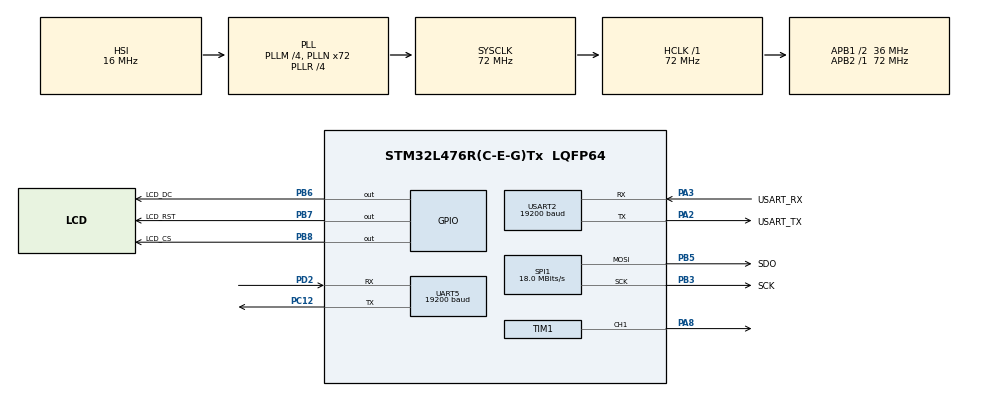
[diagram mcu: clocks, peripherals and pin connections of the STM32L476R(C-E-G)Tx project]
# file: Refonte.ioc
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Dma.Request0=TIM1_CH1
Dma.Request1=SPI1_TX
Dma.SPI1_TX.1.Direction=DMA_MEMORY_TO_PERIPH
Dma.SPI1_TX.1.Instance=DMA1_Channel3
Dma.SPI1_TX.1.MemDataAlignment=DMA_MDATAALIGN_BYTE
Dma.SPI1_TX.1.MemInc=DMA_MINC_ENABLE
Dma.SPI1_TX.1.Mode=DMA_NORMAL
Dma.SPI1_TX.1.PeriphDataAlignment=DMA_PDATAALIGN_BYTE
Dma.SPI1_TX.1.PeriphInc=DMA_PINC_DISABLE
Dma.SPI1_TX.1.Priority=DMA_PRIORITY_LOW
Dma.TIM1_CH1.0.Direction=DMA_MEMORY_TO_PERIPH
Dma.TIM1_CH1.0.Instance=DMA1_Channel2
Dma.TIM1_CH1.0.MemDataAlignment=DMA_MDATAALIGN_HALFWORD
Dma.TIM1_CH1.0.MemInc=DMA_MINC_ENABLE
Dma.TIM1_CH1.0.Mode=DMA_NORMAL
Dma.TIM1_CH1.0.PeriphDataAlignment=DMA_PDATAALIGN_HALFWORD
Dma.TIM1_CH1.0.PeriphInc=DMA_PINC_DISABLE
Dma.TIM1_CH1.0.Priority=DMA_PRIORITY_LOW
Mcu.Family=STM32L4
Mcu.Name=STM32L476R(C-E-G)Tx
Mcu.Package=LQFP64
NVIC.DMA1_Channel2_IRQn=true\:0\:0\:false\:false\:true\:false\:true\:true
NVIC.DMA1_Channel3_IRQn=true\:0\:0\:false\:false\:true\:false\:true\:true
NVIC.PriorityGroup=NVIC_PRIORITYGROUP_4
NVIC.TIM2_IRQn=true\:0\:0\:false\:false\:true\:true\:true\:true
NVIC.UART5_IRQn=true\:0\:0\:false\:false\:true\:true\:true\:true
NVIC.USART2_IRQn=true\:0\:0\:false\:false\:true\:true\:true\:true
PA2.GPIO_Label=USART_TX
PA2.GPIO_Mode=GPIO_MODE_AF_PP
PA2.GPIO_PuPd=GPIO_NOPULL
PA2.GPIO_Speed=GPIO_SPEED_FREQ_VERY_HIGH
PA2.Mode=Asynchronous
PA2.Signal=USART2_TX
PA3.GPIO_Label=USART_RX
PA3.GPIO_Mode=GPIO_MODE_AF_PP
PA3.GPIO_PuPd=GPIO_NOPULL
PA3.GPIO_Speed=GPIO_SPEED_FREQ_VERY_HIGH
PA3.Mode=Asynchronous
PA3.Signal=USART2_RX
PA8.Signal=S_TIM1_CH1
PB3\ (JTDO-TRACESWO).GPIO_Label=SCK
PB3\ (JTDO-TRACESWO).Mode=TX_Only_Simplex_Unidirect_Master
PB3\ (JTDO-TRACESWO).Signal=SPI1_SCK
PB5.GPIO_Label=SDO
PB5.Mode=TX_Only_Simplex_Unidirect_Master
PB5.Signal=SPI1_MOSI
PB6.GPIO_Label=LCD_DC
PB6.Signal=GPIO_Output
PB7.GPIO_Label=LCD_RST
PB7.Signal=GPIO_Output
PB8.GPIO_Label=LCD_CS
PB8.Signal=GPIO_Output
PC12.Mode=Asynchronous
PC12.Signal=UART5_TX
PD2.Mode=Asynchronous
PD2.Signal=UART5_RX
ProjectManager.HeapSize=0x200
ProjectManager.StackSize=0x400
ProjectManager.TargetToolchain=STM32CubeIDE
RCC.ADCFreq_Value=16000000
RCC.AHBFreq_Value=72000000
RCC.APB1CLKDivider=RCC_HCLK_DIV2
RCC.APB1Freq_Value=36000000
RCC.APB1TimFreq_Value=72000000
RCC.APB2Freq_Value=72000000
RCC.APB2TimFreq_Value=72000000
RCC.CortexFreq_Value=72000000
RCC.HCLKFreq_Value=72000000
RCC.HSE_VALUE=8000000
RCC.HSI_VALUE=16000000
RCC.LSE_VALUE=32768
RCC.MSI_VALUE=4000000
RCC.PLLM=4
RCC.PLLN=72
RCC.PLLR=RCC_PLLR_DIV4
RCC.PLLSourceVirtual=RCC_PLLSOURCE_HSI
RCC.PREFETCH_ENABLE=1
RCC.SYSCLKFreq_VALUE=72000000
RCC.SYSCLKSource=RCC_SYSCLKSOURCE_PLLCLK
RCC.USBFreq_Value=16000000
RCC.VCOOutputFreq_Value=288000000
SH.S_TIM1_CH1.0=TIM1_CH1,PWM Generation1 CH1
SPI1.BaudRatePrescaler=SPI_BAUDRATEPRESCALER_4
SPI1.CalculateBaudRate=18.0 MBits/s
SPI1.DataSize=SPI_DATASIZE_8BIT
SPI1.Direction=SPI_DIRECTION_2LINES
SPI1.Mode=SPI_MODE_MASTER
SPI1.VirtualType=VM_MASTER
TIM1.Channel-PWM\ Generation1\ CH1=TIM_CHANNEL_1
TIM1.Period=90-1
TIM2.Period=7200-1
TIM2.Prescaler=500-1
UART5.BaudRate=19200
USART2.BaudRate=19200
USART2.VirtualMode-Asynchronous=VM_ASYNC
VP_TIM1_VS_ClockSourceINT.Mode=Internal
VP_TIM2_VS_ClockSourceINT.Mode=Internal
board=NUCLEO-L476RG

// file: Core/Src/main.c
/* USER CODE BEGIN Header */
/**
  ******************************************************************************
  * @file           : main.c
  * @brief          : Main program body
  ******************************************************************************
  * @attention
  *
  * Copyright (c) 2024 STMicroelectronics.
  * All rights reserved.
  *
  * This software is licensed under terms that can be found in the LICENSE file
  * in the root directory of this software component.
  * If no LICENSE file comes with this software, it is provided AS-IS.
  *
  ******************************************************************************
  */
/* USER CODE END Header */
#include "main.h"

/* USER CODE BEGIN Includes */
#include "../../Lib/Inc/led_ring.h"
#include "../../Lib/Inc/communication.h"
/* USER CODE END Includes */

SPI_HandleTypeDef hspi1;
DMA_HandleTypeDef hdma_spi1_tx;

TIM_HandleTypeDef htim1;
TIM_HandleTypeDef htim2;
DMA_HandleTypeDef hdma_tim1_ch1;

UART_HandleTypeDef huart5;
UART_HandleTypeDef huart2;

/* USER CODE BEGIN PV */
extern uint8_t rx_buffer_uart2[];
extern uint8_t rx_buffer_uart5[];
extern uint8_t tx_buffer_uart2[];
extern uint8_t tx_buffer_uart5[];
bool uart2_irq_is_captured = false;
bool uart5_irq_is_captured = false;

extern uint8_t red;
extern uint8_t green;
extern uint8_t blue;
extern int datasentflag;
int LED_delay;
int stop = 0;
/* USER CODE END PV */

void SystemClock_Config(void);
static void MX_GPIO_Init(void);
static void MX_DMA_Init(void);
static void MX_USART2_UART_Init(void);
static void MX_TIM1_Init(void);
static void MX_UART5_Init(void);
static void MX_TIM2_Init(void);
static void MX_SPI1_Init(void);

int main(void)
{

  /* MCU Configuration--------------------------------------------------------*/

  /* Reset of all peripherals, Initializes the Flash interface and the Systick. */
  HAL_Init();

  /* Configure the system clock */
  SystemClock_Config();

  /* Initialize all configured peripherals */
  MX_GPIO_Init();
  MX_DMA_Init();
  MX_USART2_UART_Init();
  MX_TIM1_Init();
  MX_UART5_Init();
  MX_TIM2_Init();
  MX_SPI1_Init();
  /* USER CODE BEGIN 2 */

  HAL_TIM_Base_Start_IT(&htim2);// Timer ticks each 1s

  uart_init(&huart2);

  for (int i=0; i < 16; i++){
	  Set_LED(i, 255, 0, 0);
  }
  /* USER CODE END 2 */

  /* Infinite loop */
  /* USER CODE BEGIN WHILE */
  while (1)
  {
	  msg_manager(&huart2);
	  for (int i=0; i < 16; i++){
		  Set_LED(i, red, green, blue);
	  }
	  if ((LED_delay) && !(stop)){
		  for (int i=0; i<45; i++)
		  {
			  Set_Brightness(i);
			  WS2812_Send();
		  }
		  stop = 1;
	  }else if(LED_delay > 1){
		  for (int i=45; i>=0; i--)
		  {
			  Set_Brightness(i);
			  WS2812_Send();
		  }
		  LED_delay=0;
		  stop = 0;
	  }

    /* USER CODE END WHILE */

  }
}

void SystemClock_Config(void)
{
  RCC_OscInitTypeDef RCC_OscInitStruct = {0};
  RCC_ClkInitTypeDef RCC_ClkInitStruct = {0};

  /** Configure the main internal regulator output voltage
  */
  if (HAL_PWREx_ControlVoltageScaling(PWR_REGULATOR_VOLTAGE_SCALE1) != HAL_OK)
  {
    Error_Handler();
  }

  /** Initializes the RCC Oscillators according to the specified parameters
  * in the RCC_OscInitTypeDef structure.
  */
  RCC_OscInitStruct.OscillatorType = RCC_OSCILLATORTYPE_HSI;
  RCC_OscInitStruct.HSIState = RCC_HSI_ON;
  RCC_OscInitStruct.HSICalibrationValue = RCC_HSICALIBRATION_DEFAULT;
  RCC_OscInitStruct.PLL.PLLState = RCC_PLL_ON;
  RCC_OscInitStruct.PLL.PLLSource = RCC_PLLSOURCE_HSI;
  RCC_OscInitStruct.PLL.PLLM = 4;
  RCC_OscInitStruct.PLL.PLLN = 72;
  RCC_OscInitStruct.PLL.PLLP = RCC_PLLP_DIV7;
  RCC_OscInitStruct.PLL.PLLQ = RCC_PLLQ_DIV2;
  RCC_OscInitStruct.PLL.PLLR = RCC_PLLR_DIV4;
  if (HAL_RCC_OscConfig(&RCC_OscInitStruct) != HAL_OK)
  {
    Error_Handler();
  }

  /** Initializes the CPU, AHB and APB buses clocks
  */
  RCC_ClkInitStruct.ClockType = RCC_CLOCKTYPE_HCLK|RCC_CLOCKTYPE_SYSCLK
                              |RCC_CLOCKTYPE_PCLK1|RCC_CLOCKTYPE_PCLK2;
  RCC_ClkInitStruct.SYSCLKSource = RCC_SYSCLKSOURCE_PLLCLK;
  RCC_ClkInitStruct.AHBCLKDivider = RCC_SYSCLK_DIV1;
  RCC_ClkInitStruct.APB1CLKDivider = RCC_HCLK_DIV2;
  RCC_ClkInitStruct.APB2CLKDivider = RCC_HCLK_DIV1;

  if (HAL_RCC_ClockConfig(&RCC_ClkInitStruct, FLASH_LATENCY_4) != HAL_OK)
  {
    Error_Handler();
  }
}

static void MX_SPI1_Init(void)
{

  /* SPI1 parameter configuration*/
  hspi1.Instance = SPI1;
  hspi1.Init.Mode = SPI_MODE_MASTER;
  hspi1.Init.Direction = SPI_DIRECTION_2LINES;
  hspi1.Init.DataSize = SPI_DATASIZE_8BIT;
  hspi1.Init.CLKPolarity = SPI_POLARITY_LOW;
  hspi1.Init.CLKPhase = SPI_PHASE_1EDGE;
  hspi1.Init.NSS = SPI_NSS_SOFT;
  hspi1.Init.BaudRatePrescaler = SPI_BAUDRATEPRESCALER_4;
  hspi1.Init.FirstBit = SPI_FIRSTBIT_MSB;
  hspi1.Init.TIMode = SPI_TIMODE_DISABLE;
  hspi1.Init.CRCCalculation = SPI_CRCCALCULATION_DISABLE;
  hspi1.Init.CRCPolynomial = 7;
  hspi1.Init.CRCLength = SPI_CRC_LENGTH_DATASIZE;
  hspi1.Init.NSSPMode = SPI_NSS_PULSE_ENABLE;
  if (HAL_SPI_Init(&hspi1) != HAL_OK)
  {
    Error_Handler();
  }

}

static void MX_TIM1_Init(void)
{

  TIM_ClockConfigTypeDef sClockSourceConfig = {0};
  TIM_MasterConfigTypeDef sMasterConfig = {0};
  TIM_OC_InitTypeDef sConfigOC = {0};
  TIM_BreakDeadTimeConfigTypeDef sBreakDeadTimeConfig = {0};

  htim1.Instance = TIM1;
  htim1.Init.Prescaler = 0;
  htim1.Init.CounterMode = TIM_COUNTERMODE_UP;
  htim1.Init.Period = 90-1;
  htim1.Init.ClockDivision = TIM_CLOCKDIVISION_DIV1;
  htim1.Init.RepetitionCounter = 0;
  htim1.Init.AutoReloadPreload = TIM_AUTORELOAD_PRELOAD_DISABLE;
  if (HAL_TIM_Base_Init(&htim1) != HAL_OK)
  {
    Error_Handler();
  }
  sClockSourceConfig.ClockSource = TIM_CLOCKSOURCE_INTERNAL;
  if (HAL_TIM_ConfigClockSource(&htim1, &sClockSourceConfig) != HAL_OK)
  {
    Error_Handler();
  }
  if (HAL_TIM_PWM_Init(&htim1) != HAL_OK)
  {
    Error_Handler();
  }
  sMasterConfig.MasterOutputTrigger = TIM_TRGO_RESET;
  sMasterConfig.MasterOutputTrigger2 = TIM_TRGO2_RESET;
  sMasterConfig.MasterSlaveMode = TIM_MASTERSLAVEMODE_DISABLE;
  if (HAL_TIMEx_MasterConfigSynchronization(&htim1, &sMasterConfig) != HAL_OK)
  {
    Error_Handler();
  }
  sConfigOC.OCMode = TIM_OCMODE_PWM1;
  sConfigOC.Pulse = 0;
  sConfigOC.OCPolarity = TIM_OCPOLARITY_HIGH;
  sConfigOC.OCNPolarity = TIM_OCNPOLARITY_HIGH;
  sConfigOC.OCFastMode = TIM_OCFAST_DISABLE;
  sConfigOC.OCIdleState = TIM_OCIDLESTATE_RESET;
  sConfigOC.OCNIdleState = TIM_OCNIDLESTATE_RESET;
  if (HAL_TIM_PWM_ConfigChannel(&htim1, &sConfigOC, TIM_CHANNEL_1) != HAL_OK)
  {
    Error_Handler();
  }
  sBreakDeadTimeConfig.OffStateRunMode = TIM_OSSR_DISABLE;
  sBreakDeadTimeConfig.OffStateIDLEMode = TIM_OSSI_DISABLE;
  sBreakDeadTimeConfig.LockLevel = TIM_LOCKLEVEL_OFF;
  sBreakDeadTimeConfig.DeadTime = 0;
  sBreakDeadTimeConfig.BreakState = TIM_BREAK_DISABLE;
  sBreakDeadTimeConfig.BreakPolarity = TIM_BREAKPOLARITY_HIGH;
  sBreakDeadTimeConfig.BreakFilter = 0;
  sBreakDeadTimeConfig.Break2State = TIM_BREAK2_DISABLE;
  sBreakDeadTimeConfig.Break2Polarity = TIM_BREAK2POLARITY_HIGH;
  sBreakDeadTimeConfig.Break2Filter = 0;
  sBreakDeadTimeConfig.AutomaticOutput = TIM_AUTOMATICOUTPUT_DISABLE;
  if (HAL_TIMEx_ConfigBreakDeadTime(&htim1, &sBreakDeadTimeConfig) != HAL_OK)
  {
    Error_Handler();
  }
  HAL_TIM_MspPostInit(&htim1);

}

static void MX_TIM2_Init(void)
{

  TIM_ClockConfigTypeDef sClockSourceConfig = {0};
  TIM_MasterConfigTypeDef sMasterConfig = {0};

  htim2.Instance = TIM2;
  htim2.Init.Prescaler = 500-1;
  htim2.Init.CounterMode = TIM_COUNTERMODE_UP;
  htim2.Init.Period = 7200-1;
  htim2.Init.ClockDivision = TIM_CLOCKDIVISION_DIV1;
  htim2.Init.AutoReloadPreload = TIM_AUTORELOAD_PRELOAD_DISABLE;
  if (HAL_TIM_Base_Init(&htim2) != HAL_OK)
  {
    Error_Handler();
  }
  sClockSourceConfig.ClockSource = TIM_CLOCKSOURCE_INTERNAL;
  if (HAL_TIM_ConfigClockSource(&htim2, &sClockSourceConfig) != HAL_OK)
  {
    Error_Handler();
  }
  sMasterConfig.MasterOutputTrigger = TIM_TRGO_RESET;
  sMasterConfig.MasterSlaveMode = TIM_MASTERSLAVEMODE_DISABLE;
  if (HAL_TIMEx_MasterConfigSynchronization(&htim2, &sMasterConfig) != HAL_OK)
  {
    Error_Handler();
  }

}

static void MX_UART5_Init(void)
{

  huart5.Instance = UART5;
  huart5.Init.BaudRate = 19200;
  huart5.Init.WordLength = UART_WORDLENGTH_8B;
  huart5.Init.StopBits = UART_STOPBITS_1;
  huart5.Init.Parity = UART_PARITY_NONE;
  huart5.Init.Mode = UART_MODE_TX_RX;
  huart5.Init.HwFlowCtl = UART_HWCONTROL_NONE;
  huart5.Init.OverSampling = UART_OVERSAMPLING_16;
  huart5.Init.OneBitSampling = UART_ONE_BIT_SAMPLE_DISABLE;
  huart5.AdvancedInit.AdvFeatureInit = UART_ADVFEATURE_NO_INIT;
  if (HAL_UART_Init(&huart5) != HAL_OK)
  {
    Error_Handler();
  }

}

static void MX_USART2_UART_Init(void)
{

  huart2.Instance = USART2;
  huart2.Init.BaudRate = 19200;
  huart2.Init.WordLength = UART_WORDLENGTH_8B;
  huart2.Init.StopBits = UART_STOPBITS_1;
  huart2.Init.Parity = UART_PARITY_NONE;
  huart2.Init.Mode = UART_MODE_TX_RX;
  huart2.Init.HwFlowCtl = UART_HWCONTROL_NONE;
  huart2.Init.OverSampling = UART_OVERSAMPLING_16;
  huart2.Init.OneBitSampling = UART_ONE_BIT_SAMPLE_DISABLE;
  huart2.AdvancedInit.AdvFeatureInit = UART_ADVFEATURE_NO_INIT;
  if (HAL_UART_Init(&huart2) != HAL_OK)
  {
    Error_Handler();
  }

}

static void MX_DMA_Init(void)
{

  /* DMA controller clock enable */
  __HAL_RCC_DMA1_CLK_ENABLE();

  /* DMA interrupt init */
  /* DMA1_Channel2_IRQn interrupt configuration */
  HAL_NVIC_SetPriority(DMA1_Channel2_IRQn, 0, 0);
  HAL_NVIC_EnableIRQ(DMA1_Channel2_IRQn);
  /* DMA1_Channel3_IRQn interrupt configuration */
  HAL_NVIC_SetPriority(DMA1_Channel3_IRQn, 0, 0);
  HAL_NVIC_EnableIRQ(DMA1_Channel3_IRQn);

}

static void MX_GPIO_Init(void)
{
  GPIO_InitTypeDef GPIO_InitStruct = {0};

  /* GPIO Ports Clock Enable */
  __HAL_RCC_GPIOA_CLK_ENABLE();
  __HAL_RCC_GPIOC_CLK_ENABLE();
  __HAL_RCC_GPIOD_CLK_ENABLE();
  __HAL_RCC_GPIOB_CLK_ENABLE();

  /*Configure GPIO pin Output Level */
  HAL_GPIO_WritePin(GPIOB, LCD_DC_Pin|LCD_RST_Pin|LCD_CS_Pin, GPIO_PIN_RESET);

  /*Configure GPIO pins : LCD_DC_Pin LCD_RST_Pin LCD_CS_Pin */
  GPIO_InitStruct.Pin = LCD_DC_Pin|LCD_RST_Pin|LCD_CS_Pin;
  GPIO_InitStruct.Mode = GPIO_MODE_OUTPUT_PP;
  GPIO_InitStruct.Pull = GPIO_NOPULL;
  GPIO_InitStruct.Speed = GPIO_SPEED_FREQ_LOW;
  HAL_GPIO_Init(GPIOB, &GPIO_InitStruct);

}

/* USER CODE BEGIN 4 */
void HAL_UART_RxCpltCallback(UART_HandleTypeDef *huart)
{
	// Cette fonction sera appelée lorsque des données seront reçues
	if (huart == &huart2)
	{
		// Relancer la réception pour les prochaines données
		uart2_irq_is_captured = true;
	}

	if (huart == &huart5){
		uart5_irq_is_captured = true;
	}
}

void HAL_TIM_PeriodElapsedCallback(TIM_HandleTypeDef *htim){
	if(htim->Instance == TIM2){
		LED_delay++;
	}
}

//void HAL_UART_TxCpltCallback(UART_HandleTypeDef *huart){
//	if (huart == &huart5){
//		HAL_UART_Receive_IT(&huart5, rx_buffer_uart5, 8);//START_IT UART2
//
//	}
//}

void HAL_TIM_PWM_PulseFinishedCallback(TIM_HandleTypeDef *htim)
{
	HAL_TIM_PWM_Stop_DMA(&htim1, TIM_CHANNEL_1);
	datasentflag=1;
}
/* USER CODE END 4 */

void Error_Handler(void)
{
  __disable_irq();
  while (1)
  {
  }
}
